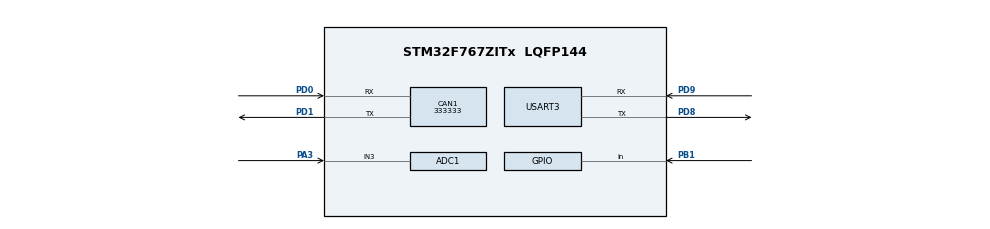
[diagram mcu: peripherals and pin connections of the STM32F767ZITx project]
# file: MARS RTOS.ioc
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ADC1.Channel-1\#ChannelRegularConversion=ADC_CHANNEL_3
ADC1.NbrOfConversionFlag=1
ADC1.Rank-1\#ChannelRegularConversion=1
ADC1.SamplingTime-1\#ChannelRegularConversion=ADC_SAMPLETIME_3CYCLES
ADC1.master=1
CAN1.CalculateBaudRate=333333
CAN1.CalculateTimeBit=3000
CAN1.CalculateTimeQuantum=1000.0
CORTEX_M7.default_mode_Activation=1
FREERTOS.Tasks01=defaultTask,24,256,StartDefaultTask,Default,NULL,Dynamic,NULL,NULL;CANTask,40,256,StartTask02,Default,NULL,Dynamic,NULL,NULL;PotTask,24,256,StartTask03,Default,NULL,Dynamic,NULL,NULL
Mcu.Family=STM32F7
Mcu.Name=STM32F767ZITx
Mcu.Package=LQFP144
NVIC.PriorityGroup=NVIC_PRIORITYGROUP_4
PA3.Signal=ADCx_IN3
PB1.Signal=GPIO_Input
PD0.Mode=CAN_Activate
PD0.Signal=CAN1_RX
PD1.Mode=CAN_Activate
PD1.Signal=CAN1_TX
PD8.Mode=Asynchronous
PD8.Signal=USART3_TX
PD9.Mode=Asynchronous
PD9.Signal=USART3_RX
ProjectManager.HeapSize=0x200
ProjectManager.StackSize=0x400
ProjectManager.TargetToolchain=STM32CubeIDE
RCC.HSE_VALUE=25000000
RCC.HSI_VALUE=16000000
RCC.LSE_VALUE=32768
RCC.USBFreq_Value=96000000
RCC.VCOOutputFreq_Value=192000000
SH.ADCx_IN3.0=ADC1_IN3,IN3
USART3.VirtualMode-Asynchronous=VM_ASYNC
VP_FREERTOS_VS_CMSIS_V2.Mode=CMSIS_V2
board=custom

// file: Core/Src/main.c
/* USER CODE BEGIN Header */
/**
  ******************************************************************************
  * @file           : main.c
  * @brief          : Main program body
  ******************************************************************************
  * @attention
  *
  * Copyright (c) 2025 STMicroelectronics.
  * All rights reserved.
  *
  * This software is licensed under terms that can be found in the LICENSE file
  * in the root directory of this software component.
  * If no LICENSE file comes with this software, it is provided AS-IS.
  *
  ******************************************************************************
  */
/* USER CODE END Header */
#include "main.h"
#include "cmsis_os.h"
#include "adc.h"
#include "can.h"
#include "usart.h"
#include "gpio.h"

void SystemClock_Config(void);
static void MPU_Config(void);
void MX_FREERTOS_Init(void);

int main(void)
{

  /* MPU Configuration--------------------------------------------------------*/
  MPU_Config();

  /* MCU Configuration--------------------------------------------------------*/

  /* Reset of all peripherals, Initializes the Flash interface and the Systick. */
  HAL_Init();

  /* Configure the system clock */
  SystemClock_Config();

  /* Initialize all configured peripherals */
  MX_GPIO_Init();
  MX_ADC1_Init();
  MX_CAN1_Init();
  MX_USART3_UART_Init();

  /* Init scheduler */
  osKernelInitialize();  /* Call init function for freertos objects (in cmsis_os2.c) */
  MX_FREERTOS_Init();

  /* Start scheduler */
  osKernelStart();

  /* We should never get here as control is now taken by the scheduler */

  /* Infinite loop */
  while (1)
  {

  }
}

void SystemClock_Config(void)
{
  RCC_OscInitTypeDef RCC_OscInitStruct = {0};
  RCC_ClkInitTypeDef RCC_ClkInitStruct = {0};

  /** Configure the main internal regulator output voltage
  */
  __HAL_RCC_PWR_CLK_ENABLE();
  __HAL_PWR_VOLTAGESCALING_CONFIG(PWR_REGULATOR_VOLTAGE_SCALE3);

  /** Initializes the RCC Oscillators according to the specified parameters
  * in the RCC_OscInitTypeDef structure.
  */
  RCC_OscInitStruct.OscillatorType = RCC_OSCILLATORTYPE_HSI;
  RCC_OscInitStruct.HSIState = RCC_HSI_ON;
  RCC_OscInitStruct.HSICalibrationValue = RCC_HSICALIBRATION_DEFAULT;
  RCC_OscInitStruct.PLL.PLLState = RCC_PLL_NONE;
  if (HAL_RCC_OscConfig(&RCC_OscInitStruct) != HAL_OK)
  {
    Error_Handler();
  }

  /** Initializes the CPU, AHB and APB buses clocks
  */
  RCC_ClkInitStruct.ClockType = RCC_CLOCKTYPE_HCLK|RCC_CLOCKTYPE_SYSCLK
                              |RCC_CLOCKTYPE_PCLK1|RCC_CLOCKTYPE_PCLK2;
  RCC_ClkInitStruct.SYSCLKSource = RCC_SYSCLKSOURCE_HSI;
  RCC_ClkInitStruct.AHBCLKDivider = RCC_SYSCLK_DIV1;
  RCC_ClkInitStruct.APB1CLKDivider = RCC_HCLK_DIV1;
  RCC_ClkInitStruct.APB2CLKDivider = RCC_HCLK_DIV1;

  if (HAL_RCC_ClockConfig(&RCC_ClkInitStruct, FLASH_LATENCY_0) != HAL_OK)
  {
    Error_Handler();
  }
}

 /* MPU Configuration */

void MPU_Config(void)
{
  MPU_Region_InitTypeDef MPU_InitStruct = {0};

  /* Disables the MPU */
  HAL_MPU_Disable();

  /** Initializes and configures the Region and the memory to be protected
  */
  MPU_InitStruct.Enable = MPU_REGION_ENABLE;
  MPU_InitStruct.Number = MPU_REGION_NUMBER0;
  MPU_InitStruct.BaseAddress = 0x0;
  MPU_InitStruct.Size = MPU_REGION_SIZE_4GB;
  MPU_InitStruct.SubRegionDisable = 0x87;
  MPU_InitStruct.TypeExtField = MPU_TEX_LEVEL0;
  MPU_InitStruct.AccessPermission = MPU_REGION_NO_ACCESS;
  MPU_InitStruct.DisableExec = MPU_INSTRUCTION_ACCESS_DISABLE;
  MPU_InitStruct.IsShareable = MPU_ACCESS_SHAREABLE;
  MPU_InitStruct.IsCacheable = MPU_ACCESS_NOT_CACHEABLE;
  MPU_InitStruct.IsBufferable = MPU_ACCESS_NOT_BUFFERABLE;

  HAL_MPU_ConfigRegion(&MPU_InitStruct);
  /* Enables the MPU */
  HAL_MPU_Enable(MPU_PRIVILEGED_DEFAULT);

}

void Error_Handler(void)
{
  __disable_irq();
  while (1)
  {
  }
}

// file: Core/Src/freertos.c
/* USER CODE BEGIN Header */
/**
  ******************************************************************************
  * File Name          : freertos.c
  * Description        : Code for freertos applications
  ******************************************************************************
  * @attention
  *
  * Copyright (c) 2025 STMicroelectronics.
  * All rights reserved.
  *
  * This software is licensed under terms that can be found in the LICENSE file
  * in the root directory of this software component.
  * If no LICENSE file comes with this software, it is provided AS-IS.
  *
  ******************************************************************************
  */
/* USER CODE END Header */

#include "FreeRTOS.h"
#include "task.h"
#include "main.h"
#include "cmsis_os.h"

/* USER CODE BEGIN Includes */
#include "adc.h"
#include "can.h"
#include "usart.h"
#include <stdio.h>
/* USER CODE END Includes */

/* USER CODE BEGIN Variables */
// Latest raw ADC reading from the potentiometer
volatile uint32_t g_adcRaw = 0;

// Latest computed voltage from the potentiometer (in volts)
volatile float    g_voltage = 0.0f;

// Desired motor speed command, normalized 0.0 (stop) to 1.0 (max)
volatile float    g_speedCommand = 0.0f;

// Buffer for UART debug prints
static uint8_t    s_outputBuf[64];
/* USER CODE END Variables */
/* Definitions for defaultTask */
osThreadId_t defaultTaskHandle;
const osThreadAttr_t defaultTask_attributes = {
  .name = "defaultTask",
  .stack_size = 256 * 4,
  .priority = (osPriority_t) osPriorityNormal,
};
/* Definitions for CANTask */
osThreadId_t CANTaskHandle;
const osThreadAttr_t CANTask_attributes = {
  .name = "CANTask",
  .stack_size = 256 * 4,
  .priority = (osPriority_t) osPriorityHigh,
};
/* Definitions for PotTask */
osThreadId_t PotTaskHandle;
const osThreadAttr_t PotTask_attributes = {
  .name = "PotTask",
  .stack_size = 256 * 4,
  .priority = (osPriority_t) osPriorityNormal,
};

/* USER CODE BEGIN FunctionPrototypes */
void sendCANMessage(CAN_HandleTypeDef *hcan, int identifier, char *message, uint8_t length);
void sendGlobalEnableFrame(CAN_HandleTypeDef *hcan);
/* USER CODE END FunctionPrototypes */

void StartDefaultTask(void *argument);
void StartTask02(void *argument);
void StartTask03(void *argument);

void MX_FREERTOS_Init(void); /* (MISRA C 2004 rule 8.1) */

void MX_FREERTOS_Init(void) {

  /* Create the thread(s) */
  /* creation of defaultTask */
  defaultTaskHandle = osThreadNew(StartDefaultTask, NULL, &defaultTask_attributes);

  /* creation of CANTask */
  CANTaskHandle = osThreadNew(StartTask02, NULL, &CANTask_attributes);

  /* creation of PotTask */
  PotTaskHandle = osThreadNew(StartTask03, NULL, &PotTask_attributes);

}

void StartDefaultTask(void *argument)
{
  for(;;)
  {
    osDelay(1);
  }
}

void StartTask02(void *argument)
{
  /* USER CODE BEGIN StartTask02 */
  // Optional: send a global enable frame once at startup
  sendGlobalEnableFrame(&hcan1);

  for(;;)
  {
    // Take a snapshot of the current desired speed from the pot (0.0 .. 1.0)
    float speedNorm = g_speedCommand;

    // Clamp to [0.0, 1.0] just in case
    if (speedNorm < 0.0f) speedNorm = 0.0f;
    if (speedNorm > 1.0f) speedNorm = 1.0f;

    // Example: map normalized speed to a Q10 fixed-point value (0..1024)
    int16_t spd_q10 = (int16_t)(speedNorm * 1024.0f);

    // Build 8-byte CAN payload (based on your earlier init[] example)
    char init[8] = {0x00, 0x01, 0x00, 0x00, 0x00, 0x00, 0xFE, 0x0C};

    // Put the speed into bytes 6 and 7 (little-endian)
    init[6] = (uint8_t)(spd_q10 & 0xFF);
    init[7] = (uint8_t)((spd_q10 >> 8) & 0xFF);

    // Send CAN frame to Kraken X60 (ID = 0x204b540 | 60 as in your code)
    sendCANMessage(&hcan1, 0x204b540 | 60, init, 8);

    // Run this high-priority task about every 10 ms
    osDelay(10);
  }
  /* USER CODE END StartTask02 */
}

void StartTask03(void *argument)
{
  /* USER CODE BEGIN StartTask03 */
  const float ADC_RESOLUTION_COUNTS = 4095.0f;   // 12-bit ADC
  const float REFERENCE_VOLTAGE     = 3.3f;      // VDDA

  for(;;)
  {
    // Start single ADC conversion
    if (HAL_ADC_Start(&hadc1) == HAL_OK)
    {
      // Wait up to 10 ms for conversion to complete
      if (HAL_ADC_PollForConversion(&hadc1, 10) == HAL_OK)
      {
        uint32_t adc = HAL_ADC_GetValue(&hadc1);
        g_adcRaw = adc;

        // Stop ADC after the conversion
        HAL_ADC_Stop(&hadc1);

        // Convert raw ADC to voltage
        g_voltage = ((float)adc / ADC_RESOLUTION_COUNTS) * REFERENCE_VOLTAGE;

        // Map voltage (0..Vref) to normalized speed 0..1
        g_speedCommand = g_voltage / REFERENCE_VOLTAGE;

        // Format a debug string and send over UART3
        int len = snprintf((char *)s_outputBuf, sizeof(s_outputBuf),
                           "ADC=%lu, V=%.3f-/-\r\n",
                           (unsigned long)adc, g_voltage);
        if (len > 0)
        {
          HAL_UART_Transmit(&huart3, s_outputBuf, len, HAL_MAX_DELAY);
        }
      }
      else
      {
        // Timeout: stop ADC to be safe
        HAL_ADC_Stop(&hadc1);
      }
    }

    // Run this lower-priority task about every 100 ms
    osDelay(100);
  }
  /* USER CODE END StartTask03 */
}
